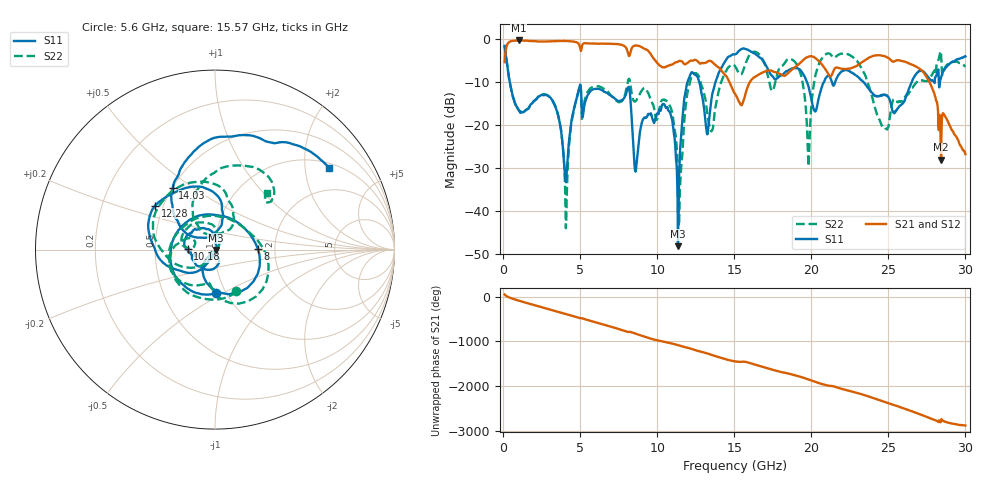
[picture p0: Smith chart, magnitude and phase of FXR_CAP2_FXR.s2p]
!Keysight Technologies,N5247B,MY61255062,A.15.50.07
!Date: Thursday, February 06, 2025 12:34:36
!Correction: S11(Cdelta 2-Port  )
!S21(Cdelta 2-Port  )
!S12(Cdelta 2-Port  )
!S22(Cdelta 2-Port  )
!S2P File: Measurements: S11, S21, S12, S22:
# Hz S  MA  R 50
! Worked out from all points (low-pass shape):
!   1197 points, 100 MHz to 30 GHz, reference 50 ohm
!   highest |S21| = -0.27 dB at 1.025 GHz (marker M1); lowest = -28.0 dB at 28.43 GHz (marker M2)
!   |S21| within 3 dB of the highest: 146.6 MHz to 8.11 GHz (7.963 GHz wide, 193 % of centre); 8.249 GHz to 9.553 GHz (1.304 GHz wide, 14.7 % of centre)
!   lowest |S11| = -48.1 dB at 11.35 GHz (marker M3), VSWR 1.01, Z = 50.4 - j0.133 ohm
!   |S11| at or under -10 dB: 435.7 MHz to 11.96 GHz (11.53 GHz wide, 186 % of centre); 19.73 GHz to 20.82 GHz (1.088 GHz wide, 5.36 % of centre); 23.4 GHz to 26.51 GHz (3.116 GHz wide, 12.5 % of centre)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
!   |S22| runs from -43.9 to -1.5 dB; largest |S21 - S12| = 0.0021
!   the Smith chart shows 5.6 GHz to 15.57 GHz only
!   S11 on the Smith chart (normalised r, x): 5.6 GHz: 0.91, -0.46; 8 GHz: 1.63, +0.01; 10.18 GHz: 0.74, +0.00; 12.28 GHz: 0.45, +0.27; 14.03 GHz: 0.50, +0.42; 15.57 GHz: 1.15, +2.68
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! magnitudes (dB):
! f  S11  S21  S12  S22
! 100 MHz  -1.5  -5.3  -5.3  -1.5
! 1.025 GHz  -16.5  -0.3  -0.3  -16.5
! 3.225 GHz  -14.4  -0.5  -0.5  -14.3
! 4.075 GHz  -33.2  -0.4  -0.4  -43.9
! 5.1 GHz  -15.5  -2.0  -2.0  -16.9
! 5.6 GHz  -12.4  -1.0  -1.0  -11.6
! 8 GHz  -12.4  -2.1  -2.1  -11.5
! 8.6 GHz  -30.8  -1.5  -1.4  -14.4
! 10.07 GHz  -17.4  -5.8  -5.8  -17.4
! 10.18 GHz  -16.3  -6.1  -6.1  -15.7
! 10.93 GHz  -18.2  -5.9  -5.9  -16.4
! 11.35 GHz  -48.1  -5.2  -5.2  -31.8
! 12.28 GHz  -7.7  -5.0  -5.0  -8.3
! 13.25 GHz  -22.1  -5.3  -5.2  -17.2
! 14.03 GHz  -7.6  -6.6  -6.6  -11.6
! 15.05 GHz  -3.5  -12.7  -12.7  -6.3
! 15.57 GHz  -2.1  -14.5  -14.5  -7.3
! 20.05 GHz  -14.7  -4.0  -4.0  -13.5
! 22.32 GHz  -7.2  -6.9  -6.8  -3.4
! 25.02 GHz  -13.6  -4.4  -4.4  -19.8
! 28.43 GHz  -8.9  -28.0  -28.0  -3.7
! 30 GHz  -4.0  -26.7  -26.7  -6.4
